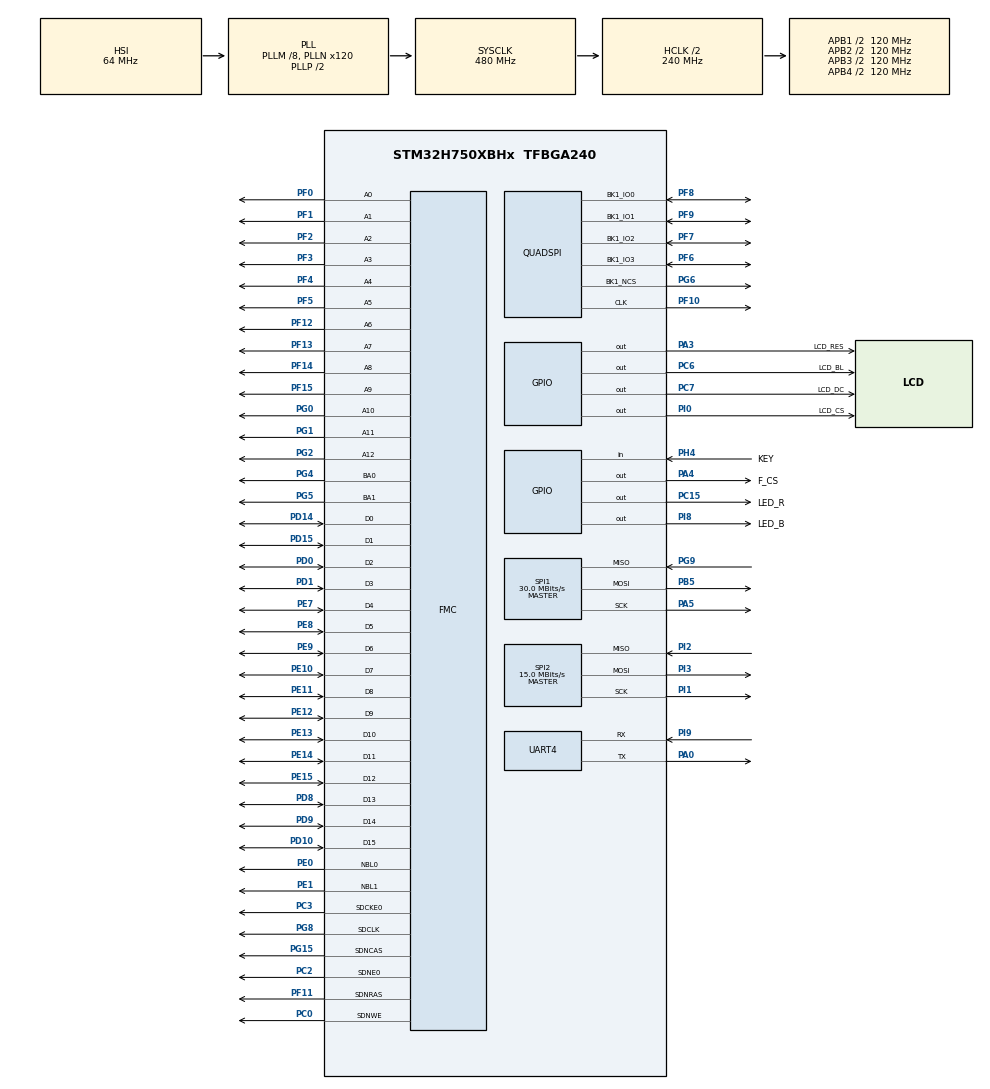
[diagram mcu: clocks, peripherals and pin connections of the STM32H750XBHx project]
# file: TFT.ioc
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FMC.CASLatency1=FMC_SDRAM_CAS_LATENCY_3
FMC.ColumnBitsNumber1=FMC_SDRAM_COLUMN_BITS_NUM_9
FMC.ExitSelfRefreshDelay1=8
FMC.LoadToActiveDelay1=2
FMC.RCDDelay1=2
FMC.RPDelay1=2
FMC.RPDelay2=2
FMC.ReadBurst1=FMC_SDRAM_RBURST_ENABLE
FMC.ReadBurst2=FMC_SDRAM_RBURST_ENABLE
FMC.ReadPipeDelay1=FMC_SDRAM_RPIPE_DELAY_0
FMC.RowCycleDelay1=6
FMC.RowCycleDelay2=6
FMC.SDClockPeriod1=FMC_SDRAM_CLOCK_PERIOD_2
FMC.SDClockPeriod2=FMC_SDRAM_CLOCK_PERIOD_2
FMC.SelfRefreshTime1=6
FMC.WriteRecoveryTime1=16
Mcu.Family=STM32H7
Mcu.Name=STM32H750XBHx
Mcu.Package=TFBGA240
NVIC.PriorityGroup=NVIC_PRIORITYGROUP_4
PA0.GPIO_Speed=GPIO_SPEED_FREQ_LOW
PA0.Mode=Asynchronous
PA0.PinAttribute=Free
PA0.Signal=UART4_TX
PA13\ (JTMS/SWDIO).Mode=Serial_Wire
PA13\ (JTMS/SWDIO).Signal=DEBUG_JTMS-SWDIO
PA14\ (JTCK/SWCLK).Mode=Serial_Wire
PA14\ (JTCK/SWCLK).Signal=DEBUG_JTCK-SWCLK
PA3.GPIO_Label=LCD_RES
PA3.Signal=GPIO_Output
PA4.GPIO_Label=F_CS
PA4.Signal=GPIO_Output
PA5.GPIO_Speed=GPIO_SPEED_FREQ_VERY_HIGH
PA5.Mode=Full_Duplex_Master
PA5.Signal=SPI1_SCK
PB5.GPIO_Speed=GPIO_SPEED_FREQ_VERY_HIGH
PB5.Mode=Full_Duplex_Master
PB5.Signal=SPI1_MOSI
PC0.PinAttribute=Free
PC0.Signal=FMC_SDNWE
PC14-OSC32_IN\ (OSC32_IN).Mode=LSE-External-Clock-Source
PC14-OSC32_IN\ (OSC32_IN).Signal=RCC_OSC32_IN
PC15-OSC32_OUT\ (OSC32_OUT).GPIO_Label=LED_R
PC15-OSC32_OUT\ (OSC32_OUT).Signal=GPIO_Output
PC2.Mode=SdramChipSelect1_1
PC2.PinAttribute=Free
PC2.Signal=FMC_SDNE0
PC3.Mode=SdramChipSelect1_1
PC3.PinAttribute=Free
PC3.Signal=FMC_SDCKE0
PC6.GPIO_Label=LCD_BL
PC6.Signal=GPIO_Output
PC7.GPIO_Label=LCD_DC
PC7.Signal=GPIO_Output
PD0.Signal=FMC_D2_DA2
PD1.PinAttribute=Free
PD1.Signal=FMC_D3_DA3
PD10.Signal=FMC_D15_DA15
PD14.Signal=FMC_D0_DA0
PD15.Signal=FMC_D1_DA1
PD8.Signal=FMC_D13_DA13
PD9.Signal=FMC_D14_DA14
PE0.Signal=FMC_NBL0
PE1.Signal=FMC_NBL1
PE10.PinAttribute=Free
PE10.Signal=FMC_D7_DA7
PE11.Signal=FMC_D8_DA8
PE12.Signal=FMC_D9_DA9
PE13.Signal=FMC_D10_DA10
PE14.Signal=FMC_D11_DA11
PE15.Signal=FMC_D12_DA12
PE7.Signal=FMC_D4_DA4
PE8.Signal=FMC_D5_DA5
PE9.Signal=FMC_D6_DA6
PF0.Signal=FMC_A0
PF1.Signal=FMC_A1
PF10.GPIO_PuPd=GPIO_PULLUP
PF10.GPIO_Speed=GPIO_SPEED_FREQ_VERY_HIGH
PF10.Mode=Single Bank 1
PF10.PinAttribute=Free
PF10.Signal=QUADSPI_CLK
PF11.Signal=FMC_SDNRAS
PF12.Signal=FMC_A6
PF13.Signal=FMC_A7
PF14.Signal=FMC_A8
PF15.Signal=FMC_A9
PF2.PinAttribute=Free
PF2.Signal=FMC_A2
PF3.PinAttribute=Free
PF3.Signal=FMC_A3
PF4.PinAttribute=Free
PF4.Signal=FMC_A4
PF5.PinAttribute=Free
PF5.Signal=FMC_A5
PF6.GPIO_PuPd=GPIO_PULLUP
PF6.GPIO_Speed=GPIO_SPEED_FREQ_VERY_HIGH
PF6.Mode=Single Bank 1
PF6.PinAttribute=Free
PF6.Signal=QUADSPI_BK1_IO3
PF7.GPIO_PuPd=GPIO_PULLUP
PF7.GPIO_Speed=GPIO_SPEED_FREQ_VERY_HIGH
PF7.Mode=Single Bank 1
PF7.PinAttribute=Free
PF7.Signal=QUADSPI_BK1_IO2
PF8.GPIO_PuPd=GPIO_PULLUP
PF8.GPIO_Speed=GPIO_SPEED_FREQ_VERY_HIGH
PF8.Mode=Single Bank 1
PF8.PinAttribute=Free
PF8.Signal=QUADSPI_BK1_IO0
PF9.GPIO_PuPd=GPIO_PULLUP
PF9.GPIO_Speed=GPIO_SPEED_FREQ_VERY_HIGH
PF9.Mode=Single Bank 1
PF9.PinAttribute=Free
PF9.Signal=QUADSPI_BK1_IO1
PG0.Signal=FMC_A10
PG1.Signal=FMC_A11
PG15.Signal=FMC_SDNCAS
PG2.PinAttribute=Free
PG2.Signal=FMC_A12
PG4.PinAttribute=Free
PG4.Signal=FMC_A14_BA0
PG5.Signal=FMC_A15_BA1
PG6.GPIO_PuPd=GPIO_PULLUP
PG6.GPIO_Speed=GPIO_SPEED_FREQ_VERY_HIGH
PG6.Mode=Single Bank 1
PG6.PinAttribute=Free
PG6.Signal=QUADSPI_BK1_NCS
PG8.PinAttribute=Free
PG8.Signal=FMC_SDCLK
PG9.GPIO_Speed=GPIO_SPEED_FREQ_VERY_HIGH
PG9.Mode=Full_Duplex_Master
PG9.Signal=SPI1_MISO
PH0-OSC_IN\ (PH0).Mode=HSE-External-Oscillator
PH0-OSC_IN\ (PH0).PinAttribute=Free
PH0-OSC_IN\ (PH0).Signal=RCC_OSC_IN
PH1-OSC_OUT\ (PH1).Mode=HSE-External-Oscillator
PH1-OSC_OUT\ (PH1).Signal=RCC_OSC_OUT
PH4.GPIO_Label=KEY
PH4.Signal=GPIO_Input
PI0.GPIO_Label=LCD_CS
PI0.Signal=GPIO_Output
PI1.GPIO_Speed=GPIO_SPEED_FREQ_VERY_HIGH
PI1.Mode=Full_Duplex_Master
PI1.Signal=SPI2_SCK
PI2.GPIO_Speed=GPIO_SPEED_FREQ_VERY_HIGH
PI2.Mode=Full_Duplex_Master
PI2.Signal=SPI2_MISO
PI3.GPIO_Speed=GPIO_SPEED_FREQ_VERY_HIGH
PI3.Mode=Full_Duplex_Master
PI3.Signal=SPI2_MOSI
PI8.GPIO_Label=LED_B
PI8.Signal=GPIO_Output
PI9.Mode=Asynchronous
PI9.PinAttribute=Free
PI9.Signal=UART4_RX
ProjectManager.HeapSize=0x200
ProjectManager.StackSize=0x400
ProjectManager.TargetToolchain=MDK-ARM V5.27
QUADSPI.ChipSelectHighTime=QSPI_CS_HIGH_TIME_5_CYCLE
QUADSPI.ClockPrescaler=1
QUADSPI.FifoThreshold=4
QUADSPI.FlashSize=23
QUADSPI.SampleShifting=QSPI_SAMPLE_SHIFTING_HALFCYCLE
RCC.ADCFreq_Value=129000000
RCC.APB1Freq_Value=120000000
RCC.APB2Freq_Value=120000000
RCC.APB3Freq_Value=120000000
RCC.APB4Freq_Value=120000000
RCC.CortexFreq_Value=480000000
RCC.D1PPRE=RCC_APB3_DIV2
RCC.D2PPRE1=RCC_APB1_DIV2
RCC.D2PPRE2=RCC_APB2_DIV2
RCC.D3PPRE=RCC_APB4_DIV2
RCC.DIVM1=8
RCC.DIVN1=120
RCC.HCLKFreq_Value=240000000
RCC.HPRE=RCC_HCLK_DIV2
RCC.SYSCLKFreq_VALUE=480000000
RCC.SYSCLKSource=RCC_SYSCLKSOURCE_PLLCLK
RCC.USBFreq_Value=480000000
SH.FMC_A0.0=FMC_A0,13b-sda1
SH.FMC_A1.0=FMC_A1,13b-sda1
SH.FMC_A10.0=FMC_A10,13b-sda1
SH.FMC_A11.0=FMC_A11,13b-sda1
SH.FMC_A12.0=FMC_A12,13b-sda1
SH.FMC_A14_BA0.0=FMC_BA0,FourSdramBanks1
SH.FMC_A15_BA1.0=FMC_BA1,FourSdramBanks1
SH.FMC_A2.0=FMC_A2,13b-sda1
SH.FMC_A3.0=FMC_A3,13b-sda1
SH.FMC_A4.0=FMC_A4,13b-sda1
SH.FMC_A5.0=FMC_A5,13b-sda1
SH.FMC_A6.0=FMC_A6,13b-sda1
SH.FMC_A7.0=FMC_A7,13b-sda1
SH.FMC_A8.0=FMC_A8,13b-sda1
SH.FMC_A9.0=FMC_A9,13b-sda1
SH.FMC_D0_DA0.0=FMC_D0,sd-16b-d1
SH.FMC_D10_DA10.0=FMC_D10,sd-16b-d1
SH.FMC_D11_DA11.0=FMC_D11,sd-16b-d1
SH.FMC_D12_DA12.0=FMC_D12,sd-16b-d1
SH.FMC_D13_DA13.0=FMC_D13,sd-16b-d1
SH.FMC_D14_DA14.0=FMC_D14,sd-16b-d1
SH.FMC_D15_DA15.0=FMC_D15,sd-16b-d1
SH.FMC_D1_DA1.0=FMC_D1,sd-16b-d1
SH.FMC_D2_DA2.0=FMC_D2,sd-16b-d1
SH.FMC_D3_DA3.0=FMC_D3,sd-16b-d1
SH.FMC_D4_DA4.0=FMC_D4,sd-16b-d1
SH.FMC_D5_DA5.0=FMC_D5,sd-16b-d1
SH.FMC_D6_DA6.0=FMC_D6,sd-16b-d1
SH.FMC_D7_DA7.0=FMC_D7,sd-16b-d1
SH.FMC_D8_DA8.0=FMC_D8,sd-16b-d1
SH.FMC_D9_DA9.0=FMC_D9,sd-16b-d1
SH.FMC_NBL0.0=FMC_NBL0,Sd2ByteEnable1
SH.FMC_NBL1.0=FMC_NBL1,Sd2ByteEnable1
SH.FMC_SDCLK.0=FMC_SDCLK,13b-sda1
SH.FMC_SDNCAS.0=FMC_SDNCAS,13b-sda1
SH.FMC_SDNRAS.0=FMC_SDNRAS,13b-sda1
SH.FMC_SDNWE.0=FMC_SDNWE,13b-sda1
SPI1.BaudRatePrescaler=SPI_BAUDRATEPRESCALER_16
SPI1.CalculateBaudRate=30.0 MBits/s
SPI1.DataSize=SPI_DATASIZE_8BIT
SPI1.Direction=SPI_DIRECTION_2LINES
SPI1.Mode=SPI_MODE_MASTER
SPI1.VirtualType=VM_MASTER
SPI2.BaudRatePrescaler=SPI_BAUDRATEPRESCALER_32
SPI2.CalculateBaudRate=15.0 MBits/s
SPI2.DataSize=SPI_DATASIZE_24BIT
SPI2.Direction=SPI_DIRECTION_2LINES
SPI2.Mode=SPI_MODE_MASTER
SPI2.VirtualType=VM_MASTER
board=custom

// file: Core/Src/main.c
/* USER CODE BEGIN Header */
/**
  ******************************************************************************
  * @file           : main.c
  * @brief          : Main program body
  ******************************************************************************
  * @attention
  *
  * <h2><center>&copy; Copyright (c) 2021 STMicroelectronics.
  * All rights reserved.</center></h2>
  *
  * This software component is licensed by ST under BSD 3-Clause license,
  * the "License"; You may not use this file except in compliance with the
  * License. You may obtain a copy of the License at:
  *                        opensource.org/licenses/BSD-3-Clause
  *
  ******************************************************************************
  */
/* USER CODE END Header */
#include "main.h"
#include "quadspi.h"
#include "spi.h"
#include "usart.h"
#include "gpio.h"
#include "fmc.h"

/* USER CODE BEGIN Includes */
#include "stdio.h"
#include "SDRAM.h"
#include "W25Q128.h"
#include "W25Q64_QSPI.h"
#include "ILI9488.h"

uint32_t bsp_TestExtSDRAM(void);
/* USER CODE END Includes */

void SystemClock_Config(void);

int main(void)
{

  /* MCU Configuration--------------------------------------------------------*/

  /* Reset of all peripherals, Initializes the Flash interface and the Systick. */
  HAL_Init();

  /* Configure the system clock */
  SystemClock_Config();

  /* Initialize all configured peripherals */
  MX_GPIO_Init();
  MX_FMC_Init();
  MX_QUADSPI_Init();
  MX_UART4_Init();
  MX_SPI1_Init();
  MX_SPI2_Init();
  /* USER CODE BEGIN 2 */

  SDRAM_Init();
  printf("SDRAM W9825G6KH初始化成功\r\n");

  W25Qx_Init();
  printf("SPI-Flash初始化成功\r\n");

  printf("存储数据：W25Q64 \r\n");
  uint8_t DATA[6]="W25Q64";
  uint8_t pDATA[6];
  W25Qx_Write(DATA,0*00, 6);
  //W25Qx_Erase_Block(0*00);
  printf("取出数据：");
  W25Qx_Read(pDATA,0*00,6);
  printf("%s\r\n",pDATA);

  //SDRAM测试
  //SDRAM_test();

  W25Qx_QSPI_Init();
  LCD_Init();
  /*
  	uint8_t temp1[50] = "hello sudaroot";
  	uint8_t temp2[50] = {0};
  	W25Qx_QSPI_Erase_Block(0);
    W25Qx_QSPI_Write(temp1, 0, 15);
    W25Qx_QSPI_Read(temp2, 0, 15);
  	printf("1: %s\r\n", temp1);
  	printf("2: %s\r\n", temp2);

  */
  /* USER CODE END 2 */

  /* Infinite loop */
  while (1)
    {

      /* USER CODE BEGIN 3 */

      HAL_GPIO_WritePin(LED_R_GPIO_Port, LED_R_Pin, GPIO_PIN_SET);
      HAL_GPIO_WritePin(LED_B_GPIO_Port, LED_B_Pin, GPIO_PIN_SET);
      HAL_Delay(500);
      HAL_GPIO_WritePin(LED_R_GPIO_Port, LED_R_Pin, GPIO_PIN_RESET);
      HAL_GPIO_WritePin(LED_B_GPIO_Port, LED_B_Pin, GPIO_PIN_RESET);
      HAL_Delay(500);
    }
  /* USER CODE END 3 */
}

void SystemClock_Config(void)
{
  RCC_OscInitTypeDef RCC_OscInitStruct = {0};
  RCC_ClkInitTypeDef RCC_ClkInitStruct = {0};
  RCC_PeriphCLKInitTypeDef PeriphClkInitStruct = {0};

  /** Supply configuration update enable
  */
  HAL_PWREx_ConfigSupply(PWR_LDO_SUPPLY);
  /** Configure the main internal regulator output voltage
  */
  __HAL_PWR_VOLTAGESCALING_CONFIG(PWR_REGULATOR_VOLTAGE_SCALE0);

  while(!__HAL_PWR_GET_FLAG(PWR_FLAG_VOSRDY)) {}
  /** Initializes the RCC Oscillators according to the specified parameters
  * in the RCC_OscInitTypeDef structure.
  */
  RCC_OscInitStruct.OscillatorType = RCC_OSCILLATORTYPE_HSI;
  RCC_OscInitStruct.HSIState = RCC_HSI_DIV1;
  RCC_OscInitStruct.HSICalibrationValue = RCC_HSICALIBRATION_DEFAULT;
  RCC_OscInitStruct.PLL.PLLState = RCC_PLL_ON;
  RCC_OscInitStruct.PLL.PLLSource = RCC_PLLSOURCE_HSI;
  RCC_OscInitStruct.PLL.PLLM = 8;
  RCC_OscInitStruct.PLL.PLLN = 120;
  RCC_OscInitStruct.PLL.PLLP = 2;
  RCC_OscInitStruct.PLL.PLLQ = 2;
  RCC_OscInitStruct.PLL.PLLR = 2;
  RCC_OscInitStruct.PLL.PLLRGE = RCC_PLL1VCIRANGE_3;
  RCC_OscInitStruct.PLL.PLLVCOSEL = RCC_PLL1VCOWIDE;
  RCC_OscInitStruct.PLL.PLLFRACN = 0;
  if (HAL_RCC_OscConfig(&RCC_OscInitStruct) != HAL_OK)
    {
      Error_Handler();
    }
  /** Initializes the CPU, AHB and APB buses clocks
  */
  RCC_ClkInitStruct.ClockType = RCC_CLOCKTYPE_HCLK|RCC_CLOCKTYPE_SYSCLK
                                |RCC_CLOCKTYPE_PCLK1|RCC_CLOCKTYPE_PCLK2
                                |RCC_CLOCKTYPE_D3PCLK1|RCC_CLOCKTYPE_D1PCLK1;
  RCC_ClkInitStruct.SYSCLKSource = RCC_SYSCLKSOURCE_PLLCLK;
  RCC_ClkInitStruct.SYSCLKDivider = RCC_SYSCLK_DIV1;
  RCC_ClkInitStruct.AHBCLKDivider = RCC_HCLK_DIV2;
  RCC_ClkInitStruct.APB3CLKDivider = RCC_APB3_DIV2;
  RCC_ClkInitStruct.APB1CLKDivider = RCC_APB1_DIV2;
  RCC_ClkInitStruct.APB2CLKDivider = RCC_APB2_DIV2;
  RCC_ClkInitStruct.APB4CLKDivider = RCC_APB4_DIV2;

  if (HAL_RCC_ClockConfig(&RCC_ClkInitStruct, FLASH_LATENCY_4) != HAL_OK)
    {
      Error_Handler();
    }
  PeriphClkInitStruct.PeriphClockSelection = RCC_PERIPHCLK_UART4|RCC_PERIPHCLK_SPI1
      |RCC_PERIPHCLK_SPI2|RCC_PERIPHCLK_QSPI
      |RCC_PERIPHCLK_FMC;
  PeriphClkInitStruct.FmcClockSelection = RCC_FMCCLKSOURCE_D1HCLK;
  PeriphClkInitStruct.QspiClockSelection = RCC_QSPICLKSOURCE_D1HCLK;
  PeriphClkInitStruct.Spi123ClockSelection = RCC_SPI123CLKSOURCE_PLL;
  PeriphClkInitStruct.Usart234578ClockSelection = RCC_USART234578CLKSOURCE_D2PCLK1;
  if (HAL_RCCEx_PeriphCLKConfig(&PeriphClkInitStruct) != HAL_OK)
    {
      Error_Handler();
    }
}

void Error_Handler(void)
{
  __disable_irq();
  while (1)
    {
    }
}

/************************ (C) COPYRIGHT STMicroelectronics *****END OF FILE****/
